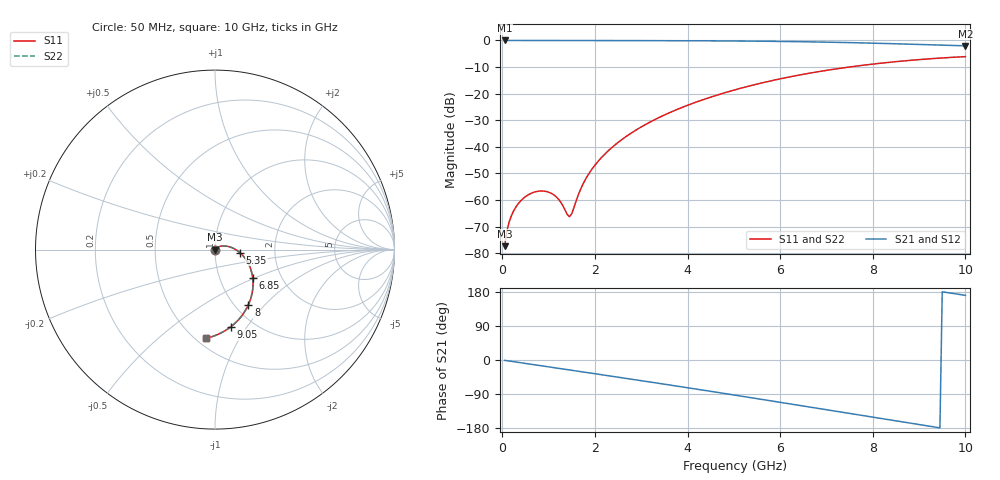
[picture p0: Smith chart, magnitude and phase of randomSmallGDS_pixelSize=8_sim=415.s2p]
! freq	dB(S11)	phase(S11)	dB(S12)	phase(S12)
!  dB(S21)	phase(S21)	dB(S22)	phase(S22)
!S-par simulation data
#  GHz  S  DB  R 50
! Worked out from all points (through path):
!   200 points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, 50 MHz to 10 GHz, reference 50 ohm
!   highest |S21| = 0.00 dB at 50 MHz (marker M1); lowest = -2.0 dB at 10 GHz (marker M2)
!   group delay of S21, straight-line fit = 53 ps
!   lowest |S11| = -77.3 dB at 50 MHz (marker M3), VSWR 1.00, Z = 50 - j0.0132 ohm
!   |S11| at or under -10 dB: start of sweep to 7.488 GHz
!   |S22| runs from -77.3 to -6.1 dB; largest |S21 - S12| = 0
!   S11 on the Smith chart (normalised r, x): 50 MHz: 1.00, -0.00; 5.35 GHz: 1.32, -0.05; 6.85 GHz: 1.44, -0.48; 8 GHz: 1.15, -0.81; 9.05 GHz: 0.79, -0.85; 10 GHz: 0.56, -0.73
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0.05  -77.35 -76.0  -0.00 -0.9  -0.00 -0.9  -77.35 -76.0
0.1  -71.59 -84.6  -0.00 -1.8  -0.00 -1.8  -71.58 -84.6
0.2  -65.75 -90.8  -0.00 -3.6  -0.00 -3.6  -65.75 -90.8
0.35  -61.26 -96.1  -0.01 -6.4  -0.01 -6.4  -61.25 -96.0
0.5  -58.73 -100.5  -0.01 -9.1  -0.01 -9.1  -58.73 -100.4
0.8  -56.65 -109.4  -0.02 -14.5  -0.02 -14.5  -56.65 -109.3
1.05  -57.40 -119.3  -0.02 -19.0  -0.02 -19.0  -57.40 -119.1
1.25  -60.49 -134.3  -0.03 -22.6  -0.03 -22.6  -60.50 -134.0
1.45  -66.27 161.6  -0.03 -26.2  -0.03 -26.2  -66.40 161.8
1.5  -65.15 132.3  -0.03 -27.2  -0.03 -27.2  -65.26 132.1
1.75  -53.75 77.8  -0.04 -31.7  -0.04 -31.7  -53.77 77.5
2  -46.90 64.8  -0.04 -36.2  -0.04 -36.2  -46.91 64.7
2.35  -40.51 54.3  -0.05 -42.6  -0.05 -42.6  -40.51 54.2
3.4  -28.85 31.3  -0.08 -61.9  -0.08 -61.9  -28.85 31.2
5.05  -18.44 -1.2  -0.20 -93.2  -0.20 -93.2  -18.44 -1.3
5.35  -17.05 -7.1  -0.24 -99.0  -0.24 -99.0  -17.05 -7.1
6.7  -12.10 -33.6  -0.54 -125.5  -0.54 -125.5  -12.10 -33.6
6.85  -11.66 -36.5  -0.58 -128.5  -0.58 -128.5  -11.66 -36.6
8  -8.89 -58.9  -1.02 -151.2  -1.02 -151.2  -8.89 -58.9
8.35  -8.23 -65.5  -1.18 -158.0  -1.18 -158.0  -8.23 -65.6
9.05  -7.13 -78.7  -1.52 -171.5  -1.52 -171.5  -7.13 -78.7
10  -6.08 -95.9  -2.02 170.6  -2.02 170.6  -6.08 -95.9
